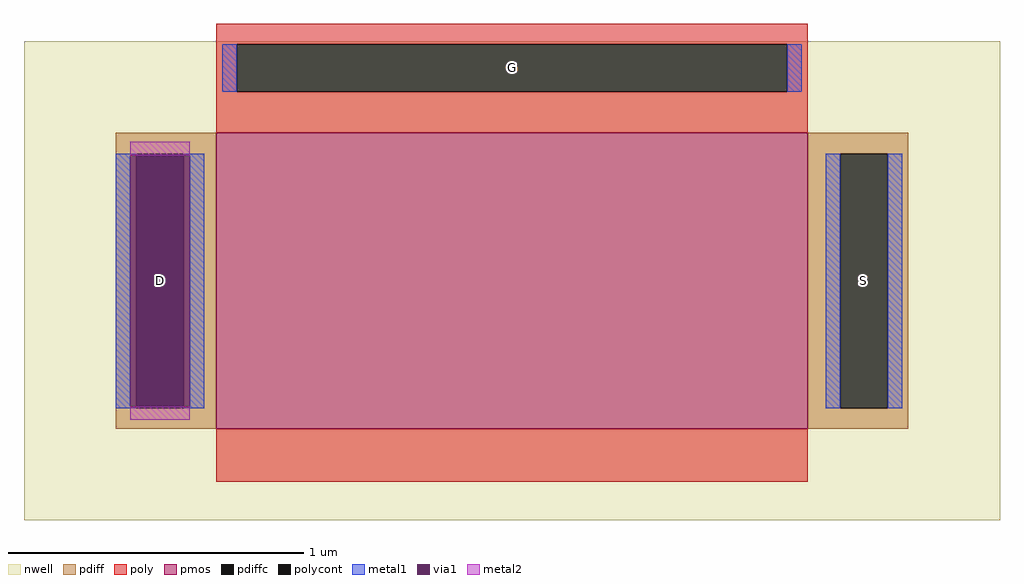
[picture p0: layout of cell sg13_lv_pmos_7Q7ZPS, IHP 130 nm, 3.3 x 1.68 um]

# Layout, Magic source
magic
tech ihp-sg13g2
magscale 1 2
<< nwell >>
rect -330 -181 330 143
<< pmos >>
rect -200 -119 200 81
<< pdiff >>
rect -268 67 -200 81
rect -268 -105 -254 67
rect -222 -105 -200 67
rect -268 -119 -200 -105
rect 200 67 268 81
rect 200 -105 222 67
rect 254 -105 268 67
rect 200 -119 268 -105
<< pdiffc >>
rect -254 -105 -222 67
rect 222 -105 254 67
<< poly >>
rect -200 141 200 155
rect -200 109 -186 141
rect 186 109 200 141
rect -200 81 200 109
rect -200 -155 200 -119
<< polycont >>
rect -186 109 186 141
<< metal1 >>
rect -196 109 -186 141
rect 186 109 196 141
rect -268 66 -254 67
rect -222 66 -208 67
rect -268 -104 -258 66
rect -218 -104 -208 66
rect -268 -105 -254 -104
rect -222 -105 -208 -104
rect 212 -105 222 67
rect 254 -105 264 67
<< via1 >>
rect -258 -104 -254 66
rect -254 -104 -222 66
rect -222 -104 -218 66
<< metal2 >>
rect -258 66 -218 75
rect -258 -113 -218 -104
<< labels >>
rlabel pdiffc -238 -19 -238 -19 0 D
port 1 nsew
rlabel pdiffc 238 -19 238 -19 0 S
port 2 nsew
rlabel polycont 0 125 0 125 0 G
port 3 nsew
<< properties >>
string gencell sg13_lv_pmos
string library sg13g2
string parameters w 1 l 2 m 1 nf 1 diffcov 100 polycov 100 guard 0 glc 1 grc 1 gtc 1 gbc 1 tbcov 100 rlcov 100 topc 1 botc 0 poverlap 0 doverlap 1 lmin 0.13 wmin 0.15 class mosfet compatible {sg13_lv_pmos sg13_hv_pmos} full_metal 1 conn_gates 0 gate_ring 0 ccols 1 viasrc 0 viadrn 100 viagate 0 viagb 0 viagr 0 viagl 0 viagt 0 doports 1
<< end >>
